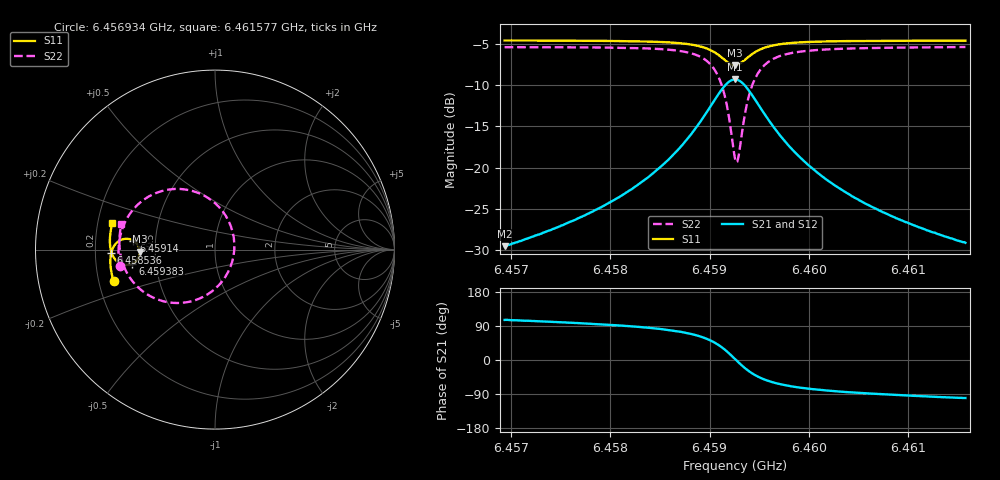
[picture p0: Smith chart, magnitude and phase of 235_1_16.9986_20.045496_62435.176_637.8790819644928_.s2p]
#  HZ  S  RI  R  50.00
! Rohde & Schwarz Vector Network Analyzer
! Rohde-Schwarz,ZNB20-2Port,1311601062101988,3.16
! Created: UTC 3/20/2024, 11:02:38 PM
! freq[Hz]  re:S11  im:S11  re:S21  im:S21  re:S12  im:S12  re:S22  im:S22
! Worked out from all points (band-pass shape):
!   401 points, 6.456934 GHz to 6.461577 GHz, reference 50 ohm
!   highest |S21| = -9.29 dB at 6.459256 GHz (marker M1); lowest = -29.5 dB at 6.456934 GHz (marker M2)
!   |S21| within 3 dB of the highest: 6.459024 GHz to 6.459488 GHz (463.8 kHz wide, 0.00718 % of centre)
!   lowest |S11| = -7.6 dB at 6.459256 GHz (marker M3), VSWR 2.44, Z = 20.5 - j0.611 ohm
!   |S11| at or under -10 dB: nowhere
!   |S22| runs from -19.4 to -5.3 dB; largest |S21 - S12| = 0.013
!   S11 on the Smith chart (normalised r, x): 6.456934 GHz: 0.26, -0.14; 6.458536 GHz: 0.27, -0.01; 6.45914 GHz: 0.37, +0.05; 6.459383 GHz: 0.37, -0.07; 6.461577 GHz: 0.26, +0.12
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6.4569344e9  -0.5654 -0.1762  -0.00905 0.0321  -0.00749 0.032  -0.5311 -0.0923
6.457712e9  -0.5799 -0.1086  -0.00597 0.0498  -0.00351 0.0494  -0.5375 -0.00181
6.4581182e9  -0.5831 -0.0682  -0.000633 0.0681  0.00258 0.0666  -0.5311 0.0616
6.4584897e9  -0.5797 -0.0245  0.0134 0.0981  0.0173 0.0955  -0.5057 0.1437
6.4585361e9  -0.5784 -0.018  0.0167 0.1036  0.0207 0.1007  -0.4994 0.1569
6.458745e9  -0.5663 0.0138  0.0425 0.1352  0.0466 0.1305  -0.4513 0.2285
6.4588959e9  -0.5452 0.0401  0.0849 0.1656  0.0882 0.1592  -0.3734 0.2932
6.4590468e9  -0.4994 0.0601  0.176 0.185  0.1772 0.1777  -0.2064 0.3381
6.4591397e9  -0.4549 0.0501  0.2657 0.1545  0.266 0.1487  -0.0406 0.289
6.4591861e9  -0.4339 0.0315  0.3094 0.112  0.3106 0.1069  0.0425 0.2137
6.4592557e9  -0.419 -0.0123  0.3429 0.0158  0.3466 0.00898  0.1076 0.0353
6.4592673e9  -0.4194 -0.0203  0.3428 -0.00181  0.3467 -0.00934  0.1077 0.00189
6.4592905e9  -0.4228 -0.0359  0.3373 -0.0363  0.3412 -0.0451  0.0969 -0.0637
6.459337e9  -0.4383 -0.0618  0.3093 -0.0959  0.3115 -0.1077  0.0403 -0.1764
6.4593834e9  -0.4602 -0.0779  0.2676 -0.1368  0.2669 -0.15  -0.0439 -0.2509
6.4594763e9  -0.5031 -0.0848  0.1837 -0.1683  0.1776 -0.1796  -0.2112 -0.2974
6.4596271e9  -0.5468 -0.0644  0.0963 -0.1549  0.088 -0.161  -0.3779 -0.2493
6.4597896e9  -0.5683 -0.0367  0.0516 -0.1273  0.0442 -0.1303  -0.4581 -0.1781
6.4600334e9  -0.5811 -0.00122  0.0226 -0.0962  0.0168 -0.0969  -0.5063 -0.0962
6.4603584e9  -0.5856 0.0374  0.00726 -0.0712  0.00307 -0.0708  -0.5274 -0.0217
6.460811e9  -0.5838 0.0829  -0.00123 -0.0515  -0.00398 -0.0506  -0.5326 0.0507
6.4615771e9  -0.5716 0.1506  -0.00626 -0.0344  -0.00817 -0.0334  -0.5216 0.1409
